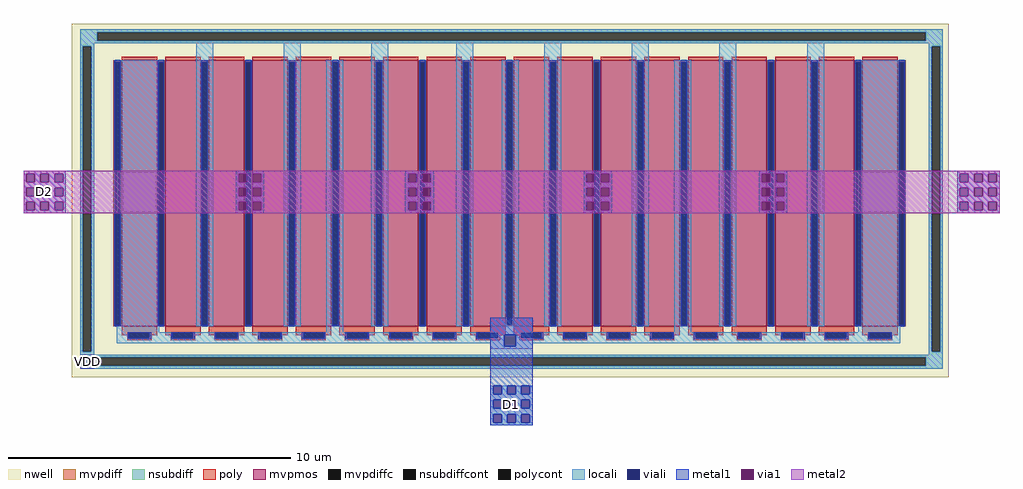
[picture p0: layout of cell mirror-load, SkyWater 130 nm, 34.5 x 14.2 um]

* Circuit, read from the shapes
.subckt mirror-load VDD D1 D2
XM1 D1 D1 D1 VDD sky130_fd_pr__pfet_g5v0d10v5 w=9.4 l=1.25 m=2
XM2 VDD D1 D1 VDD sky130_fd_pr__pfet_g5v0d10v5 w=9.4 l=1.25 m=8
XM3 D2 D1 VDD VDD sky130_fd_pr__pfet_g5v0d10v5 w=9.4 l=1.25 m=8
.ends

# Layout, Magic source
magic
tech sky130A
magscale 1 2
<< nwell >>
rect 1240 -160 7440 2340
<< nsubdiff >>
rect 1300 2280 7400 2300
rect 1300 2220 1420 2280
rect 7280 2220 7400 2280
rect 1300 2200 7400 2220
rect 1300 2180 1400 2200
rect 1300 20 1320 2180
rect 1380 20 1400 2180
rect 1300 0 1400 20
rect 7300 2180 7400 2200
rect 7300 20 7320 2180
rect 7380 20 7400 2180
rect 7300 0 7400 20
rect 1300 -20 7400 0
rect 1300 -80 1420 -20
rect 7280 -80 7400 -20
rect 1300 -100 7400 -80
<< nsubdiffcont >>
rect 1420 2220 7280 2280
rect 1320 20 1380 2180
rect 7320 20 7380 2180
rect 1420 -80 7280 -20
<< locali >>
rect 1300 2280 7400 2300
rect 1300 2220 1420 2280
rect 7280 2220 7400 2280
rect 1300 2200 7400 2220
rect 1300 2180 1400 2200
rect 1300 20 1320 2180
rect 1380 20 1400 2180
rect 1560 160 1860 2080
rect 2120 200 2240 2200
rect 2740 200 2860 2200
rect 3040 160 3160 2080
rect 3360 200 3480 2200
rect 3960 200 4080 2200
rect 4280 260 4400 2080
rect 4200 160 4500 260
rect 4580 200 4700 2200
rect 5200 200 5320 2200
rect 5500 160 5620 2080
rect 5820 200 5940 2200
rect 6440 200 6560 2200
rect 7300 2180 7400 2200
rect 6800 160 7100 2080
rect 1560 140 7100 160
rect 1560 80 4300 140
rect 4200 60 4300 80
rect 4380 80 7100 140
rect 4380 60 4500 80
rect 4200 40 4500 60
rect 1300 0 1400 20
rect 7300 20 7320 2180
rect 7380 20 7400 2180
rect 7300 0 7400 20
rect 1300 -20 7400 0
rect 1300 -80 1320 -20
rect 1380 -80 1420 -20
rect 7280 -80 7400 -20
rect 1300 -100 7400 -80
rect 4200 -280 4220 -220
rect 4280 -280 4320 -220
rect 4380 -280 4420 -220
rect 4480 -280 4500 -220
rect 4200 -320 4500 -280
rect 4200 -380 4220 -320
rect 4280 -380 4320 -320
rect 4380 -380 4420 -320
rect 4480 -380 4500 -320
rect 4200 -420 4500 -380
rect 4200 -480 4220 -420
rect 4280 -480 4320 -420
rect 4380 -480 4420 -420
rect 4480 -480 4500 -420
rect 4200 -500 4500 -480
<< viali >>
rect 4300 60 4380 140
rect 1320 -80 1380 -20
rect 4220 -280 4280 -220
rect 4320 -280 4380 -220
rect 4420 -280 4480 -220
rect 4220 -380 4280 -320
rect 4320 -380 4380 -320
rect 4420 -380 4480 -320
rect 4220 -480 4280 -420
rect 4320 -480 4380 -420
rect 4420 -480 4480 -420
<< metal1 >>
rect 900 1280 1200 1300
rect 900 1220 920 1280
rect 980 1220 1020 1280
rect 1080 1220 1120 1280
rect 1180 1220 1200 1280
rect 900 1180 1200 1220
rect 900 1120 920 1180
rect 980 1120 1020 1180
rect 1080 1120 1120 1180
rect 1180 1120 1200 1180
rect 900 1080 1200 1120
rect 900 1020 920 1080
rect 980 1020 1020 1080
rect 1080 1020 1120 1080
rect 1180 1020 1200 1080
rect 900 1000 1200 1020
rect 2400 1280 2600 1300
rect 2400 1220 2420 1280
rect 2480 1220 2520 1280
rect 2580 1220 2600 1280
rect 2400 1180 2600 1220
rect 2400 1120 2420 1180
rect 2480 1120 2520 1180
rect 2580 1120 2600 1180
rect 2400 1080 2600 1120
rect 2400 1020 2420 1080
rect 2480 1020 2520 1080
rect 2580 1020 2600 1080
rect 2400 1000 2600 1020
rect 3600 1280 3800 1300
rect 3600 1220 3620 1280
rect 3680 1220 3720 1280
rect 3780 1220 3800 1280
rect 3600 1180 3800 1220
rect 3600 1120 3620 1180
rect 3680 1120 3720 1180
rect 3780 1120 3800 1180
rect 3600 1080 3800 1120
rect 3600 1020 3620 1080
rect 3680 1020 3720 1080
rect 3780 1020 3800 1080
rect 3600 1000 3800 1020
rect 4860 1280 5060 1300
rect 4860 1220 4880 1280
rect 4940 1220 4980 1280
rect 5040 1220 5060 1280
rect 4860 1180 5060 1220
rect 4860 1120 4880 1180
rect 4940 1120 4980 1180
rect 5040 1120 5060 1180
rect 4860 1080 5060 1120
rect 4860 1020 4880 1080
rect 4940 1020 4980 1080
rect 5040 1020 5060 1080
rect 4860 1000 5060 1020
rect 6100 1280 6300 1300
rect 6100 1220 6120 1280
rect 6180 1220 6220 1280
rect 6280 1220 6300 1280
rect 6100 1180 6300 1220
rect 6100 1120 6120 1180
rect 6180 1120 6220 1180
rect 6280 1120 6300 1180
rect 6100 1080 6300 1120
rect 6100 1020 6120 1080
rect 6180 1020 6220 1080
rect 6280 1020 6300 1080
rect 6100 1000 6300 1020
rect 7500 1280 7800 1300
rect 7500 1220 7520 1280
rect 7580 1220 7620 1280
rect 7680 1220 7720 1280
rect 7780 1220 7800 1280
rect 7500 1180 7800 1220
rect 7500 1120 7520 1180
rect 7580 1120 7620 1180
rect 7680 1120 7720 1180
rect 7780 1120 7800 1180
rect 7500 1080 7800 1120
rect 7500 1020 7520 1080
rect 7580 1020 7620 1080
rect 7680 1020 7720 1080
rect 7780 1020 7800 1080
rect 7500 1000 7800 1020
rect 4200 140 4500 260
rect 4200 60 4300 140
rect 4380 60 4500 140
rect 1300 -20 1400 0
rect 1300 -80 1320 -20
rect 1380 -80 1400 -20
rect 1300 -100 1400 -80
rect 4200 -220 4500 60
rect 4200 -280 4220 -220
rect 4280 -280 4320 -220
rect 4380 -280 4420 -220
rect 4480 -280 4500 -220
rect 4200 -320 4500 -280
rect 4200 -380 4220 -320
rect 4280 -380 4320 -320
rect 4380 -380 4420 -320
rect 4480 -380 4500 -320
rect 4200 -420 4500 -380
rect 4200 -480 4220 -420
rect 4280 -480 4320 -420
rect 4380 -480 4420 -420
rect 4480 -480 4500 -420
rect 4200 -500 4500 -480
<< via1 >>
rect 920 1220 980 1280
rect 1020 1220 1080 1280
rect 1120 1220 1180 1280
rect 920 1120 980 1180
rect 1020 1120 1080 1180
rect 1120 1120 1180 1180
rect 920 1020 980 1080
rect 1020 1020 1080 1080
rect 1120 1020 1180 1080
rect 2420 1220 2480 1280
rect 2520 1220 2580 1280
rect 2420 1120 2480 1180
rect 2520 1120 2580 1180
rect 2420 1020 2480 1080
rect 2520 1020 2580 1080
rect 3620 1220 3680 1280
rect 3720 1220 3780 1280
rect 3620 1120 3680 1180
rect 3720 1120 3780 1180
rect 3620 1020 3680 1080
rect 3720 1020 3780 1080
rect 4880 1220 4940 1280
rect 4980 1220 5040 1280
rect 4880 1120 4940 1180
rect 4980 1120 5040 1180
rect 4880 1020 4940 1080
rect 4980 1020 5040 1080
rect 6120 1220 6180 1280
rect 6220 1220 6280 1280
rect 6120 1120 6180 1180
rect 6220 1120 6280 1180
rect 6120 1020 6180 1080
rect 6220 1020 6280 1080
rect 7520 1220 7580 1280
rect 7620 1220 7680 1280
rect 7720 1220 7780 1280
rect 7520 1120 7580 1180
rect 7620 1120 7680 1180
rect 7720 1120 7780 1180
rect 7520 1020 7580 1080
rect 7620 1020 7680 1080
rect 7720 1020 7780 1080
<< metal2 >>
rect 900 1280 7800 1300
rect 900 1220 920 1280
rect 980 1220 1020 1280
rect 1080 1220 1120 1280
rect 1180 1220 2420 1280
rect 2480 1220 2520 1280
rect 2580 1220 3620 1280
rect 3680 1220 3720 1280
rect 3780 1220 4880 1280
rect 4940 1220 4980 1280
rect 5040 1220 6120 1280
rect 6180 1220 6220 1280
rect 6280 1220 7520 1280
rect 7580 1220 7620 1280
rect 7680 1220 7720 1280
rect 7780 1220 7800 1280
rect 900 1180 7800 1220
rect 900 1120 920 1180
rect 980 1120 1020 1180
rect 1080 1120 1120 1180
rect 1180 1120 2420 1180
rect 2480 1120 2520 1180
rect 2580 1120 3620 1180
rect 3680 1120 3720 1180
rect 3780 1120 4880 1180
rect 4940 1120 4980 1180
rect 5040 1120 6120 1180
rect 6180 1120 6220 1180
rect 6280 1120 7520 1180
rect 7580 1120 7620 1180
rect 7680 1120 7720 1180
rect 7780 1120 7800 1180
rect 900 1080 7800 1120
rect 900 1020 920 1080
rect 980 1020 1020 1080
rect 1080 1020 1120 1080
rect 1180 1020 2420 1080
rect 2480 1020 2520 1080
rect 2580 1020 3620 1080
rect 3680 1020 3720 1080
rect 3780 1020 4880 1080
rect 4940 1020 4980 1080
rect 5040 1020 6120 1080
rect 6180 1020 6220 1080
rect 6280 1020 7520 1080
rect 7580 1020 7620 1080
rect 7680 1020 7720 1080
rect 7780 1020 7800 1080
rect 900 1000 7800 1020
use sky130_fd_pr__pfet_g5v0d10v5_ZPXM7F  XM2 /foss/designs/icdec-biomedical-pmic/xschem/error-amplifier/schematics/sub-blocks
transform 1 0 4337 0 1 1104
box -2867 -1004 2867 1042
<< labels >>
flabel metal1 1300 -100 1400 0 0 FreeSans 256 0 0 0 VDD
port 0 nsew
flabel metal1 1000 1100 1100 1200 0 FreeSans 256 0 0 0 D2
port 2 nsew
flabel metal1 4300 -400 4400 -300 0 FreeSans 256 0 0 0 D1
port 1 nsew
<< end >>

# cell sky130_fd_pr__pfet_g5v0d10v5_ZPXM7F: kit device sky130_fd_pr__pfet_g5v0d10v5, w 9.4 l 1.25 m 1 nf 18 diffcov 100 polycov 65 guard 0 glc 1 grc 1 gtc 1 gbc 1 tbcov 100 rlcov 100 topc 0 botc 1 poverlap 0 doverlap 1 lmin 0.50 wmin 0.42 class mosfet compatible {sky130_fd_pr__pfet_01v8 sky130_fd_pr__pfet_01v8_lvt sky130_fd_pr__pfet_01v8_hvt sky130_fd_pr__pfet_g5v0d10v5} full_metal 1 viasrc 100 viadrn 100 viagate 65 viagb 0 viagr 0 viagl 0 viagt 0
